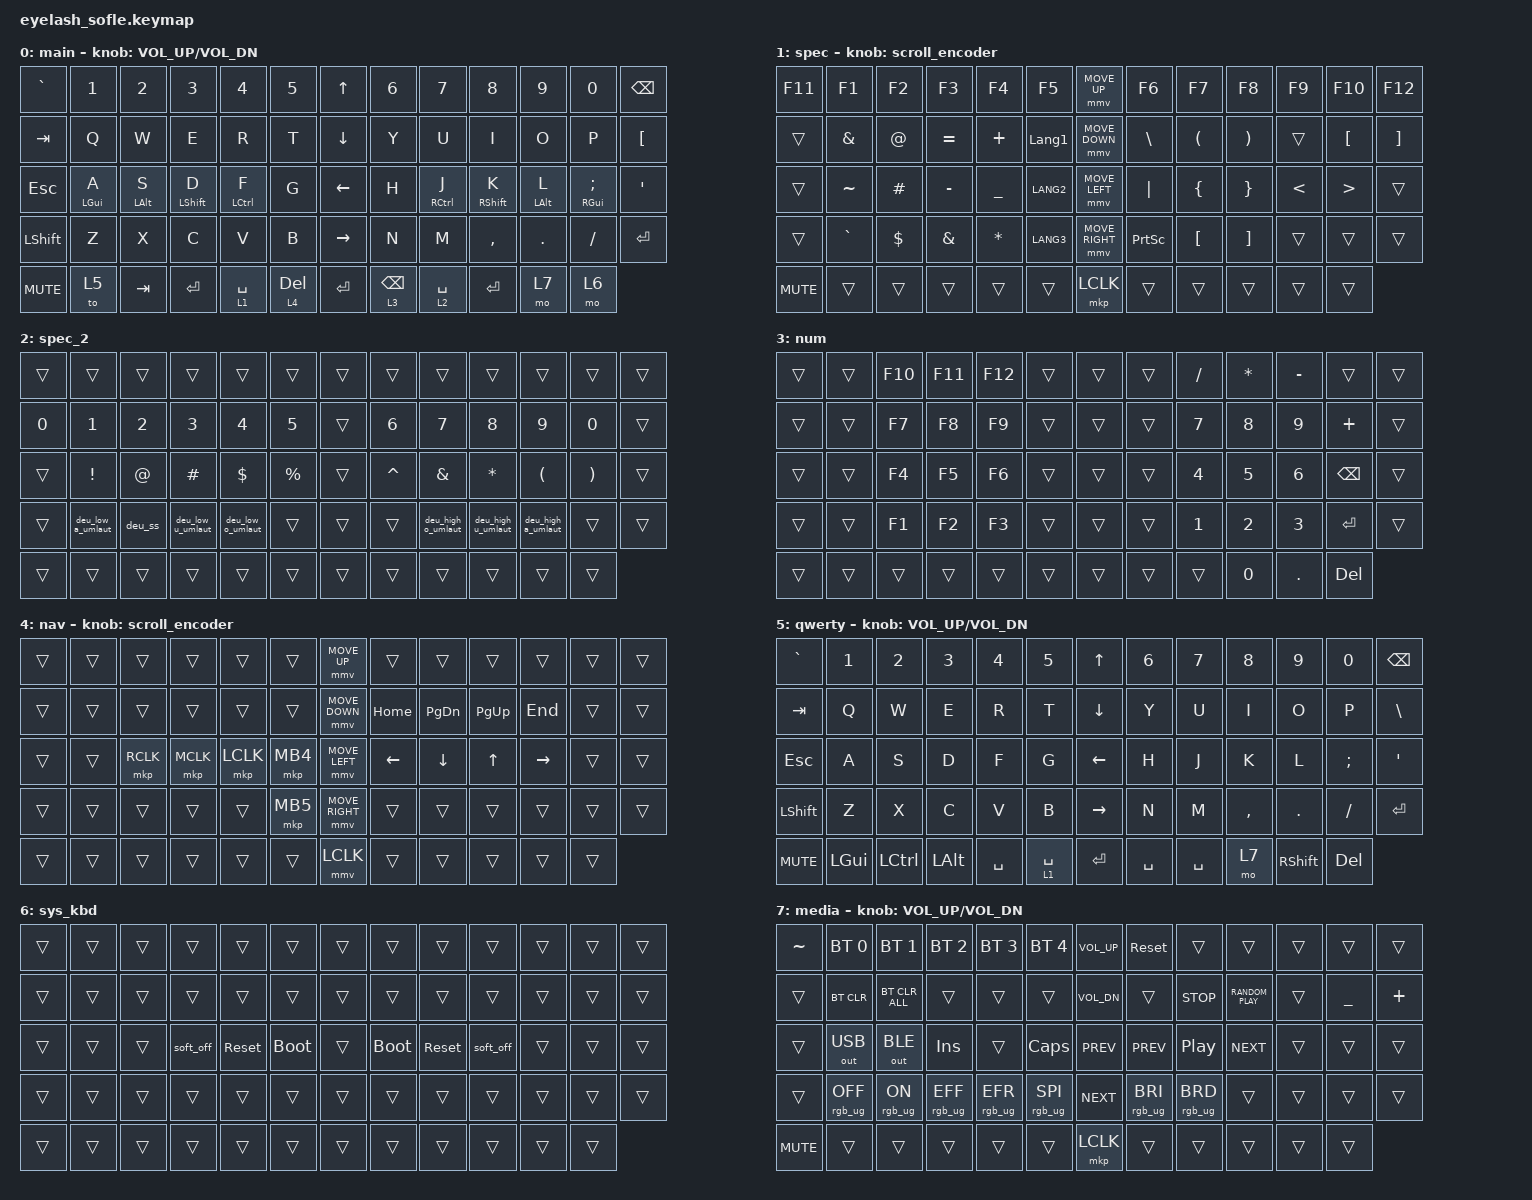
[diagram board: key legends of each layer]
#define ZMK_POINTING_DEFAULT_MOVE_VAL 1200  // 600
#define ZMK_POINTING_DEFAULT_SCRL_VAL 35    // 10

#include <input/processors.dtsi>
#include <zephyr/dt-bindings/input/input-event-codes.h>
#include <behaviors.dtsi>
#include <dt-bindings/zmk/bt.h>
#include <dt-bindings/zmk/keys.h>
#include <dt-bindings/zmk/outputs.h>
#include <dt-bindings/zmk/pointing.h>
#include <dt-bindings/zmk/pointing.h>
#include <dt-bindings/zmk/pointing.h>
#include <dt-bindings/zmk/rgb.h>

/ {
    zip_scroll_scaler: zip_scroll_scaler {
        compatible = "zmk,input-processor-scaler";
        #input-processor-cells = <2>;
        type = <INPUT_EV_REL>;
        codes = <INPUT_REL_WHEEL INPUT_REL_HWHEEL>;
        track-remainders;
    };
};

&mmv_input_listener { input-processors = <&zip_xy_scaler 2 1>; };

&msc_input_listener { input-processors = <&zip_scroll_scaler 2 1>; };

&msc {
    acceleration-exponent = <0>;      // 0
    time-to-max-speed-ms = <0>;       // 300
    delay-ms = <0>;                   // 0
};

&mmv {
    time-to-max-speed-ms = <400>;
    acceleration-exponent = <1>;
};

/ {
    scroll_encoder: scroll_encoder {
        compatible = "zmk,behavior-sensor-rotate";
        #sensor-binding-cells = <0>;
        bindings = <&msc SCRL_DOWN>, <&msc SCRL_UP>;

        tap-ms = <30>;
    };

    j_to_esc: j_to_esc {
        compatible = "zmk,behavior-tap-dance";
        label = "J_TO_ESC";
        #binding-cells = <0>;
        bindings = <&mt RCTRL J>, <&kp ESCAPE>;
    };

    behaviors {
    };

    combos {
        compatible = "zmk,combos";

        toggle_qwerty {
            bindings = <&tog 5>;
            key-positions = <56 60>;
        };

        reset_keyboard_left {
            bindings = <&mo 6>;
            key-positions = <56 57>;
        };

        reset_keyboard_right {
            bindings = <&mo 6>;
            key-positions = <59 60>;
        };
    };

    macros {
        deu_ss: deu_ss {
            compatible = "zmk,behavior-macro";
            #binding-cells = <0>;
            wait-ms = <40>;
            tap-ms = <40>;
            bindings =
                <&macro_press>,
                <&kp LALT>,
                <&macro_tap>,
                <&kp KP_N0 &kp KP_N2 &kp KP_N2 &kp KP_N3>,
                <&macro_release>,
                <&kp LALT>;

            label = "DEU_SS";
        };

        deu_low_a_umlaut: deu_low_a_umlaut {
            compatible = "zmk,behavior-macro";
            #binding-cells = <0>;
            wait-ms = <40>;
            tap-ms = <40>;
            bindings =
                <&macro_press>,
                <&kp LALT>,
                <&macro_tap>,
                <&kp KP_N0 &kp KP_N2 &kp KP_N2 &kp KP_N8>,
                <&macro_release>,
                <&kp LALT>;

            label = "DEU_LOW_A_UMLAUT";
        };

        deu_low_o_umlaut: deu_low_o_umlaut {
            compatible = "zmk,behavior-macro";
            #binding-cells = <0>;
            wait-ms = <40>;
            tap-ms = <40>;
            bindings =
                <&macro_press>,
                <&kp LALT>,
                <&macro_tap>,
                <&kp KP_N0 &kp KP_N2 &kp KP_N4 &kp KP_N6>,
                <&macro_release>,
                <&kp LALT>;

            label = "DEU_LOW_O_UMLAUT";
        };

        deu_low_u_umlaut: deu_low_u_umlaut {
            compatible = "zmk,behavior-macro";
            #binding-cells = <0>;
            wait-ms = <40>;
            tap-ms = <40>;
            bindings =
                <&macro_press>,
                <&kp LALT>,
                <&macro_tap>,
                <&kp KP_N0 &kp KP_N2 &kp KP_N5 &kp KP_N2>,
                <&macro_release>,
                <&kp LALT>;

            label = "DEU_LOW_U_UMLAUT";
        };

        deu_high_a_umlaut: deu_high_a_umlaut {
            compatible = "zmk,behavior-macro";
            #binding-cells = <0>;
            wait-ms = <40>;
            tap-ms = <40>;
            bindings =
                <&macro_press>,
                <&kp LALT>,
                <&macro_tap>,
                <&kp KP_N0 &kp KP_N1 &kp KP_N9 &kp KP_N6>,
                <&macro_release>,
                <&kp LALT>;

            label = "DEU_HIGH_A_UMLAUT";
        };

        deu_high_o_umlaut: deu_high_o_umlaut {
            compatible = "zmk,behavior-macro";
            #binding-cells = <0>;
            wait-ms = <40>;
            tap-ms = <40>;
            bindings =
                <&macro_press>,
                <&kp LALT>,
                <&macro_tap>,
                <&kp KP_N0 &kp KP_N2 &kp KP_N1 &kp KP_N4>,
                <&macro_release>,
                <&kp LALT>;

            label = "DEU_HIGH_O_UMLAUT";
        };

        deu_high_u_umlaut: deu_high_u_umlaut {
            compatible = "zmk,behavior-macro";
            #binding-cells = <0>;
            wait-ms = <40>;
            tap-ms = <40>;
            bindings =
                <&macro_press>,
                <&kp LALT>,
                <&macro_tap>,
                <&kp KP_N0 &kp KP_N2 &kp KP_N2 &kp KP_N0>,
                <&macro_release>,
                <&kp LALT>;

            label = "DEU_HIGH_U_UMLAUT";
        };
    };

    keymap {
        compatible = "zmk,keymap";

        layer_0 {
            bindings = <
&kp GRAVE   &kp N1      &kp N2      &kp N3        &kp N4       &kp N5          &kp UP_ARROW     &kp N6           &kp N7       &kp N8        &kp N9      &kp N0          &kp BACKSPACE
&kp TAB     &kp Q       &kp W       &kp E         &kp R        &kp T           &kp DOWN_ARROW   &kp Y            &kp U        &kp I         &kp O       &kp P           &kp LBKT
&kp ESC     &mt LGUI A  &mt LALT S  &mt LSHIFT D  &mt LCTRL F  &kp G           &kp LEFT_ARROW   &kp H            &mt RCTRL J  &mt RSHIFT K  &mt LALT L  &mt RGUI SEMI   &kp APOS
&kp LSHFT   &kp Z       &kp X       &kp C         &kp V        &kp B           &kp RIGHT_ARROW  &kp N            &kp M        &kp COMMA     &kp DOT     &kp FSLH        &kp ENTER
&kp C_MUTE  &to 5       &kp TAB     &kp ENTER     &lt 1 SPACE  &lt 4 DELETE    &kp ENTER        &lt 3 BACKSPACE  &lt 2 SPACE  &kp ENTER     &mo 7       &mo 6
            >;

            display-name = "main";
            sensor-bindings = <&inc_dec_kp C_VOLUME_UP C_VOL_DN>;
        };

        layer_1 {
            bindings = <
&kp F11     &kp F1     &kp F2      &kp F3     &kp F4        &kp F5            &mmv MOVE_UP     &kp F6           &kp F7            &kp F8             &kp F9         &kp F10           &kp F12
&trans      &kp AMPS   &kp AT      &kp EQUAL  &kp PLUS      &kp LANGUAGE_1    &mmv MOVE_DOWN   &kp BACKSLASH    &kp LPAR          &kp RPAR           &trans         &kp LEFT_BRACKET  &kp RBKT
&trans      &kp TILDE  &kp HASH    &kp MINUS  &kp UNDER     &kp LANG2         &mmv MOVE_LEFT   &kp PIPE         &kp LEFT_BRACE    &kp RBRC           &kp LESS_THAN  &kp GREATER_THAN  &trans
&trans      &kp GRAVE  &kp DOLLAR  &kp AMPS   &kp ASTERISK  &kp LANG3         &mmv MOVE_RIGHT  &kp PRINTSCREEN  &kp LEFT_BRACKET  &kp RIGHT_BRACKET  &trans         &trans            &trans
&kp C_MUTE  &trans     &trans      &trans     &trans        &trans            &mkp LCLK        &trans           &trans            &trans             &trans         &trans
            >;

            display-name = "spec";
            sensor-bindings = <&scroll_encoder>;
        };

        layer_2 {
            bindings = <
&trans  &trans             &trans       &trans             &trans             &trans         &trans  &trans     &trans              &trans              &trans                &trans                 &trans
&kp N0  &kp N1             &kp N2       &kp N3             &kp N4             &kp N5         &trans  &kp N6     &kp N7              &kp N8              &kp N9                &kp N0                 &trans
&trans  &kp EXCL           &kp AT_SIGN  &kp HASH           &kp DOLLAR         &kp PERCENT    &trans  &kp CARET  &kp AMPERSAND       &kp ASTERISK        &kp LEFT_PARENTHESIS  &kp RIGHT_PARENTHESIS  &trans
&trans  &deu_low_a_umlaut  &deu_ss      &deu_low_u_umlaut  &deu_low_o_umlaut  &trans         &trans  &trans     &deu_high_o_umlaut  &deu_high_u_umlaut  &deu_high_a_umlaut    &trans                 &trans
&trans  &trans             &trans       &trans             &trans             &trans         &trans  &trans     &trans              &trans              &trans                &trans
            >;

            display-name = "spec_2";
        };

        layer_3 {
            bindings = <
&trans  &trans  &kp F10  &kp F11  &kp F12  &trans    &trans  &trans  &kp SLASH     &kp ASTERISK  &kp MINUS  &trans         &trans
&trans  &trans  &kp F7   &kp F8   &kp F9   &trans    &trans  &trans  &kp N7        &kp N8        &kp N9     &kp PLUS       &trans
&trans  &trans  &kp F4   &kp F5   &kp F6   &trans    &trans  &trans  &kp N4        &kp N5        &kp N6     &kp BACKSPACE  &trans
&trans  &trans  &kp F1   &kp F2   &kp F3   &trans    &trans  &trans  &kp N1        &kp N2        &kp N3     &kp ENTER      &trans
&trans  &trans  &trans   &trans   &trans   &trans    &trans  &trans  &trans        &kp N0        &kp DOT    &kp DELETE
            >;

            display-name = "num";
        };

        layer_4 {
            bindings = <
&trans  &trans  &trans     &trans     &trans     &trans      &mmv MOVE_UP     &trans    &trans     &trans     &trans     &trans  &trans
&trans  &trans  &trans     &trans     &trans     &trans      &mmv MOVE_DOWN   &kp HOME  &kp PG_DN  &kp PG_UP  &kp END    &trans  &trans
&trans  &trans  &mkp RCLK  &mkp MCLK  &mkp LCLK  &mkp MB4    &mmv MOVE_LEFT   &kp LEFT  &kp DOWN   &kp UP     &kp RIGHT  &trans  &trans
&trans  &trans  &trans     &trans     &trans     &mkp MB5    &mmv MOVE_RIGHT  &trans    &trans     &trans     &trans     &trans  &trans
&trans  &trans  &trans     &trans     &trans     &trans      &mmv LCLK        &trans    &trans     &trans     &trans     &trans
            >;

            display-name = "nav";
            sensor-bindings = <&scroll_encoder>;
        };

        layer_5 {
            bindings = <
&kp GRAVE   &kp N1    &kp N2     &kp N3        &kp N4     &kp N5         &kp UP_ARROW     &kp N6     &kp N7     &kp N8     &kp N9           &kp N0      &kp BACKSPACE
&kp TAB     &kp Q     &kp W      &kp E         &kp R      &kp T          &kp DOWN_ARROW   &kp Y      &kp U      &kp I      &kp O            &kp P       &kp BSLH
&kp ESCAPE  &kp A     &kp S      &kp D         &kp F      &kp G          &kp LEFT_ARROW   &kp H      &kp J      &kp K      &kp L            &kp SEMI    &kp APOS
&kp LSHFT   &kp Z     &kp X      &kp C         &kp V      &kp B          &kp RIGHT_ARROW  &kp N      &kp M      &kp COMMA  &kp DOT          &kp FSLH    &kp ENTER
&kp C_MUTE  &kp LGUI  &kp LCTRL  &kp LEFT_ALT  &kp SPACE  &lt 1 SPACE    &kp ENTER        &kp SPACE  &kp SPACE  &mo 7      &kp RIGHT_SHIFT  &kp DELETE
            >;

            display-name = "qwerty";
            sensor-bindings = <&inc_dec_kp C_VOLUME_UP C_VOL_DN>;
        };

        layer_6 {
            bindings = <
&trans  &trans  &trans  &trans     &trans      &trans         &trans  &trans       &trans      &trans     &trans  &trans  &trans
&trans  &trans  &trans  &trans     &trans      &trans         &trans  &trans       &trans      &trans     &trans  &trans  &trans
&trans  &trans  &trans  &soft_off  &sys_reset  &bootloader    &trans  &bootloader  &sys_reset  &soft_off  &trans  &trans  &trans
&trans  &trans  &trans  &trans     &trans      &trans         &trans  &trans       &trans      &trans     &trans  &trans  &trans
&trans  &trans  &trans  &trans     &trans      &trans         &trans  &trans       &trans      &trans     &trans  &trans
            >;

            display-name = "sys_kbd";
        };

        layer_7 {
            bindings = <
&kp TILDE   &bt BT_SEL 0     &bt BT_SEL 1    &bt BT_SEL 2     &bt BT_SEL 3     &bt BT_SEL 4       &kp C_VOL_UP  &sys_reset       &trans            &trans             &trans  &trans     &trans
&trans      &bt BT_CLR       &bt BT_CLR_ALL  &trans           &trans           &trans             &kp C_VOL_DN  &trans           &kp C_STOP        &kp C_RANDOM_PLAY  &trans  &kp UNDER  &kp PLUS
&trans      &out OUT_USB     &out OUT_BLE    &kp INSERT       &trans           &kp CAPSLOCK       &kp C_PREV    &kp C_PREV       &kp C_PLAY_PAUSE  &kp C_NEXT         &trans  &trans     &trans
&trans      &rgb_ug RGB_OFF  &rgb_ug RGB_ON  &rgb_ug RGB_EFF  &rgb_ug RGB_EFR  &rgb_ug RGB_SPI    &kp C_NEXT    &rgb_ug RGB_BRI  &rgb_ug RGB_BRD   &trans             &trans  &trans     &trans
&kp C_MUTE  &trans           &trans          &trans           &trans           &trans             &mkp LCLK     &trans           &trans            &trans             &trans  &trans
            >;

            display-name = "media";
            sensor-bindings = <&inc_dec_kp C_VOLUME_UP C_VOL_DN>;
            label = "media";
        };
    };
};
